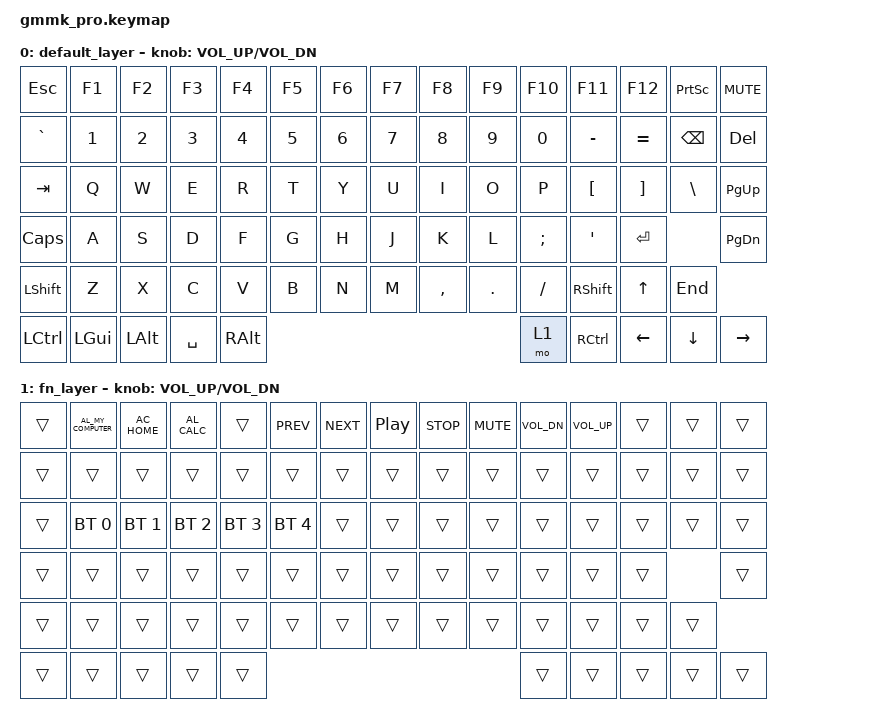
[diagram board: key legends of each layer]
/*
 * Copyright (c) 2025 G3rtz
 * SPDX-License-Identifier: MIT
 *
 * Default keymap for GMMK Pro (ANSI) - 83 keys
 */

#include <behaviors.dtsi>
#include <dt-bindings/zmk/keys.h>
#include <dt-bindings/zmk/bt.h>
#include <dt-bindings/zmk/ext_power.h>
#include <dt-bindings/zmk/outputs.h>

/ {
    keymap {
        compatible = "zmk,keymap";

        default_layer {
            // ------------------------------------------------------------------------------------------
            // | ESC |  F1 |  F2 |  F3 |  F4 |  F5 |  F6 |  F7 |  F8 |  F9 | F10 | F11 | F12 |PSCR| KNOB |
            // |  `  |  1  |  2  |  3  |  4  |  5  |  6  |  7  |  8  |  9  |  0  |  -  |  =  | BSPC| DEL  |
            // | TAB  |  Q  |  W  |  E  |  R  |  T  |  Y  |  U  |  I  |  O  |  P  |  [  |  ]  |  \  | PGUP |
            // | CAPS  |  A  |  S  |  D  |  F  |  G  |  H  |  J  |  K  |  L  |  ;  |  '  |  ENTER  | PGDN |
            // | LSHIFT  |  Z  |  X  |  C  |  V  |  B  |  N  |  M  |  ,  |  .  |  /  | RSHFT | UP | END  |
            // | LCTL | LGUI | LALT |            SPACE                | RALT |  FN | RCTL | LT | DN | RT  |
            bindings = <
                &kp ESC    &kp F1    &kp F2    &kp F3  &kp F4  &kp F5  &kp F6  &kp F7  &kp F8     &kp F9    &kp F10   &kp F11   &kp F12   &kp PSCRN  &kp C_MUTE
                &kp GRAVE  &kp N1    &kp N2    &kp N3  &kp N4  &kp N5  &kp N6  &kp N7  &kp N8     &kp N9    &kp N0    &kp MINUS &kp EQUAL &kp BSPC   &kp DEL
                &kp TAB    &kp Q     &kp W     &kp E   &kp R   &kp T   &kp Y   &kp U   &kp I      &kp O     &kp P     &kp LBKT  &kp RBKT  &kp BSLH   &kp PG_UP
                &kp CAPS   &kp A     &kp S     &kp D   &kp F   &kp G   &kp H   &kp J   &kp K      &kp L     &kp SEMI  &kp SQT   &kp ENTER            &kp PG_DN
                &kp LSHFT  &kp Z     &kp X     &kp C   &kp V   &kp B   &kp N   &kp M   &kp COMMA  &kp DOT   &kp FSLH  &kp RSHFT &kp UP    &kp END
                &kp LCTRL  &kp LGUI  &kp LALT  &kp SPACE                                           &kp RALT  &mo 1     &kp RCTRL &kp LEFT  &kp DOWN   &kp RIGHT
            >;
            sensor-bindings = <&inc_dec_kp C_VOL_UP C_VOL_DN>;
        };

        fn_layer {
            // ------------------------------------------------------------------------------------------
            // |     | MYCMP| HOME | CALC |     | PREV | NEXT | PLAY | STOP | MUTE |VOLDN|VOLUP|     |     |      |
            // |     |      |      |      |     |      |      |      |      |      |     |     |     |     |      |
            // |      | BT0 | BT1  | BT2  | BT3 | BT4  |      |      |      |      |     |     |     |     |      |
            // |       |     |      |      |      |     |      |      |      |      |     |     |         |      |
            // |         |     |     |      |     |      |      |      |      |     |     |       |   |      |
            // |      |      |      |                                  |      |     |      |   |   |     |
            bindings = <
                &trans   &kp C_AL_MY_COMPUTER  &kp C_AC_HOME  &kp C_AL_CALC  &trans  &kp C_PREV  &kp C_NEXT  &kp C_PP  &kp C_STOP  &kp C_MUTE  &kp C_VOL_DN  &kp C_VOL_UP  &trans  &trans  &trans
                &trans   &trans   &trans   &trans   &trans   &trans   &trans   &trans   &trans   &trans   &trans   &trans   &trans   &trans   &trans
                &trans   &bt BT_SEL 0  &bt BT_SEL 1  &bt BT_SEL 2  &bt BT_SEL 3  &bt BT_SEL 4  &trans  &trans  &trans  &trans  &trans  &trans  &trans  &trans  &trans
                &trans   &trans   &trans   &trans   &trans   &trans   &trans   &trans   &trans   &trans   &trans   &trans   &trans           &trans
                &trans   &trans   &trans   &trans   &trans   &trans   &trans   &trans   &trans   &trans   &trans   &trans   &trans   &trans
                &trans   &trans   &trans   &trans                                               &trans   &trans   &trans   &trans   &trans   &trans
            >;
            sensor-bindings = <&inc_dec_kp C_VOL_UP C_VOL_DN>;
        };
    };
};
